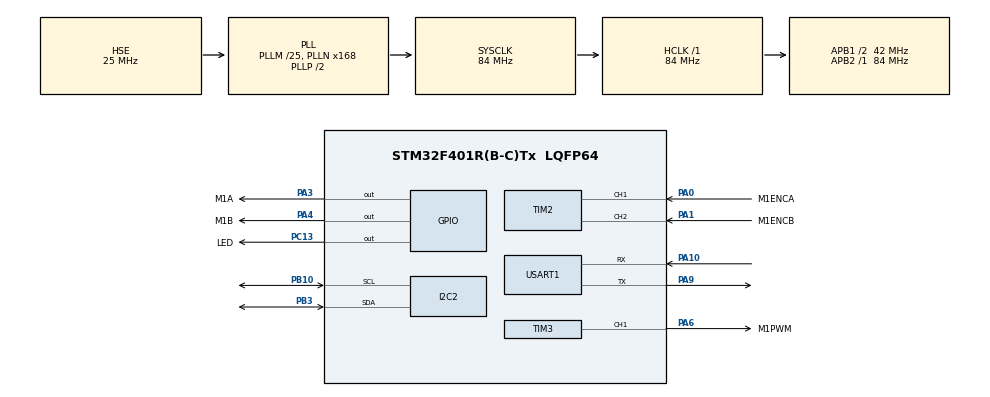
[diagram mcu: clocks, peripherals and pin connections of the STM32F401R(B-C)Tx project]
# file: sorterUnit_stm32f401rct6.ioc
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I2C2.NoStretchMode=I2C_NOSTRETCH_DISABLE
Mcu.Family=STM32F4
Mcu.Name=STM32F401R(B-C)Tx
Mcu.Package=LQFP64
NVIC.PriorityGroup=NVIC_PRIORITYGROUP_4
PA0-WKUP.GPIO_Label=M1ENCA
PA0-WKUP.Signal=S_TIM2_CH1_ETR
PA1.GPIO_Label=M1ENCB
PA1.Signal=S_TIM2_CH2
PA10.Mode=Asynchronous
PA10.Signal=USART1_RX
PA13.Mode=Serial_Wire
PA13.Signal=SYS_JTMS-SWDIO
PA14.Mode=Serial_Wire
PA14.Signal=SYS_JTCK-SWCLK
PA3.GPIO_Label=M1A
PA3.Signal=GPIO_Output
PA4.GPIO_Label=M1B
PA4.Signal=GPIO_Output
PA6.GPIO_Label=M1PWM
PA6.Signal=S_TIM3_CH1
PA9.Mode=Asynchronous
PA9.Signal=USART1_TX
PB10.Mode=I2C
PB10.Signal=I2C2_SCL
PB3.Mode=I2C
PB3.Signal=I2C2_SDA
PC13-ANTI_TAMP.GPIO_Label=LED
PC13-ANTI_TAMP.Signal=GPIO_Output
PH0\ -\ OSC_IN.Mode=HSE-External-Oscillator
PH0\ -\ OSC_IN.Signal=RCC_OSC_IN
PH1\ -\ OSC_OUT.Mode=HSE-External-Oscillator
PH1\ -\ OSC_OUT.Signal=RCC_OSC_OUT
ProjectManager.HeapSize=0x200
ProjectManager.StackSize=0x400
ProjectManager.TargetToolchain=CMake
RCC.48MHZClocksFreq_Value=42000000
RCC.AHBFreq_Value=84000000
RCC.APB1CLKDivider=RCC_HCLK_DIV2
RCC.APB1Freq_Value=42000000
RCC.APB1TimFreq_Value=84000000
RCC.APB2Freq_Value=84000000
RCC.APB2TimFreq_Value=84000000
RCC.CortexFreq_Value=84000000
RCC.HCLKFreq_Value=84000000
RCC.HSE_VALUE=25000000
RCC.HSI_VALUE=16000000
RCC.LSE_VALUE=32768
RCC.PLLM=25
RCC.PLLN=168
RCC.PLLSourceVirtual=RCC_PLLSOURCE_HSE
RCC.SYSCLKFreq_VALUE=84000000
RCC.SYSCLKSource=RCC_SYSCLKSOURCE_PLLCLK
RCC.VCOOutputFreq_Value=168000000
SH.S_TIM2_CH1_ETR.0=TIM2_CH1,Encoder_Interface
SH.S_TIM2_CH2.0=TIM2_CH2,Encoder_Interface
SH.S_TIM3_CH1.0=TIM3_CH1,PWM Generation1 CH1
TIM1.AutoReloadPreload=TIM_AUTORELOAD_PRELOAD_DISABLE
TIM1.ClockDivision=TIM_CLOCKDIVISION_DIV4
TIM3.Channel-PWM\ Generation1\ CH1=TIM_CHANNEL_1
USART1.VirtualMode=VM_ASYNC
VP_TIM1_VS_ClockSourceINT.Mode=Internal
board=custom

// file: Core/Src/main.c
/* USER CODE BEGIN Header */
/**
  ******************************************************************************
  * @file           : main.c
  * @brief          : Main program body
  ******************************************************************************
  * @attention
  *
  * Copyright (c) 2026 STMicroelectronics.
  * All rights reserved.
  *
  * This software is licensed under terms that can be found in the LICENSE file
  * in the root directory of this software component.
  * If no LICENSE file comes with this software, it is provided AS-IS.
  *
  ******************************************************************************
  */
/* USER CODE END Header */
#include "main.h"
#include "i2c.h"
#include "stm32f4xx_hal.h"
#include "tim.h"
#include "usart.h"
#include "gpio.h"

/* USER CODE BEGIN Includes */

#include <stdlib.h>

#include "tcs3472.h"
#include "motorAnglePID.h"

/* USER CODE END Includes */

/* USER CODE BEGIN PV */

uint8_t uart_tx_buffer[1];
uint8_t uart_rx_buffer[1];

/* USER CODE END PV */

void SystemClock_Config(void);

int main(void)
{

  /* MCU Configuration--------------------------------------------------------*/

  /* Reset of all peripherals, Initializes the Flash interface and the Systick. */
  HAL_Init();

  /* Configure the system clock */
  SystemClock_Config();

  /* Initialize all configured peripherals */
  MX_GPIO_Init();
  MX_I2C2_Init();
  MX_TIM1_Init();
  MX_TIM2_Init();
  MX_TIM3_Init();
  MX_USART1_UART_Init();
  /* USER CODE BEGIN 2 */

  // Initialize timers
  HAL_TIM_Base_Start(&htim1);

  HAL_TIM_Encoder_Start(&htim2, TIM_CHANNEL_ALL);
  HAL_TIM_PWM_Start(&htim3, TIM_CHANNEL_1);

  // Start UART recieving
  HAL_UART_Receive_IT(&huart1,uart_rx_buffer,1);

  // Setting up motor
  MotorHandle_TypeDef motorHandle = {
    .pwmCCR = &htim3.Instance->CCR1,
    .dirPort = GPIOA,
    .dirPinA = GPIO_PIN_3,
    .dirPinB = GPIO_PIN_4,
    .encoderCNT = &htim2.Instance->CNT,
    .ppr = 660.0f,
    .timeTimer = TIM1,
    .minPwmValue = 5000,
    .maxPwmValue = 65535,
  };

  PIDsettings_TypeDef pidSettings = {
    .Kp = 2700.0f,
    .Ki = 17.5f,
    .Kd = 50000.0f,
    .msZeroTimeout = 25,
    .regulationDelay = 5
  };

  angleMotorInit(&motorHandle, &pidSettings);

  for(uint8_t i=0;i<3;i++) {
    motorAddAngle(120.0f);
    while(!angleMotorTick());
    HAL_Delay(50);
  }

  /* USER CODE END 2 */

  /* Infinite loop */
  /* USER CODE BEGIN WHILE */
  while (1)
  {
    angleMotorTick();
    /* USER CODE END WHILE */

  }
}

void SystemClock_Config(void)
{
  RCC_OscInitTypeDef RCC_OscInitStruct = {0};
  RCC_ClkInitTypeDef RCC_ClkInitStruct = {0};

  /** Configure the main internal regulator output voltage
  */
  __HAL_RCC_PWR_CLK_ENABLE();
  __HAL_PWR_VOLTAGESCALING_CONFIG(PWR_REGULATOR_VOLTAGE_SCALE2);

  /** Initializes the RCC Oscillators according to the specified parameters
  * in the RCC_OscInitTypeDef structure.
  */
  RCC_OscInitStruct.OscillatorType = RCC_OSCILLATORTYPE_HSE;
  RCC_OscInitStruct.HSEState = RCC_HSE_ON;
  RCC_OscInitStruct.PLL.PLLState = RCC_PLL_ON;
  RCC_OscInitStruct.PLL.PLLSource = RCC_PLLSOURCE_HSE;
  RCC_OscInitStruct.PLL.PLLM = 25;
  RCC_OscInitStruct.PLL.PLLN = 168;
  RCC_OscInitStruct.PLL.PLLP = RCC_PLLP_DIV2;
  RCC_OscInitStruct.PLL.PLLQ = 4;
  if (HAL_RCC_OscConfig(&RCC_OscInitStruct) != HAL_OK)
  {
    Error_Handler();
  }

  /** Initializes the CPU, AHB and APB buses clocks
  */
  RCC_ClkInitStruct.ClockType = RCC_CLOCKTYPE_HCLK|RCC_CLOCKTYPE_SYSCLK
                              |RCC_CLOCKTYPE_PCLK1|RCC_CLOCKTYPE_PCLK2;
  RCC_ClkInitStruct.SYSCLKSource = RCC_SYSCLKSOURCE_PLLCLK;
  RCC_ClkInitStruct.AHBCLKDivider = RCC_SYSCLK_DIV1;
  RCC_ClkInitStruct.APB1CLKDivider = RCC_HCLK_DIV2;
  RCC_ClkInitStruct.APB2CLKDivider = RCC_HCLK_DIV1;

  if (HAL_RCC_ClockConfig(&RCC_ClkInitStruct, FLASH_LATENCY_2) != HAL_OK)
  {
    Error_Handler();
  }
}

/* USER CODE BEGIN 4 */

void HAL_UART_RxCpltCallback(UART_HandleTypeDef *huart) {
  if(huart->Instance==USART1)
  {
    HAL_UART_Receive_IT(&huart1,uart_rx_buffer,1);
  }
}

/* USER CODE END 4 */

void Error_Handler(void)
{
  __disable_irq();
  while (1)
  {
  }
}
